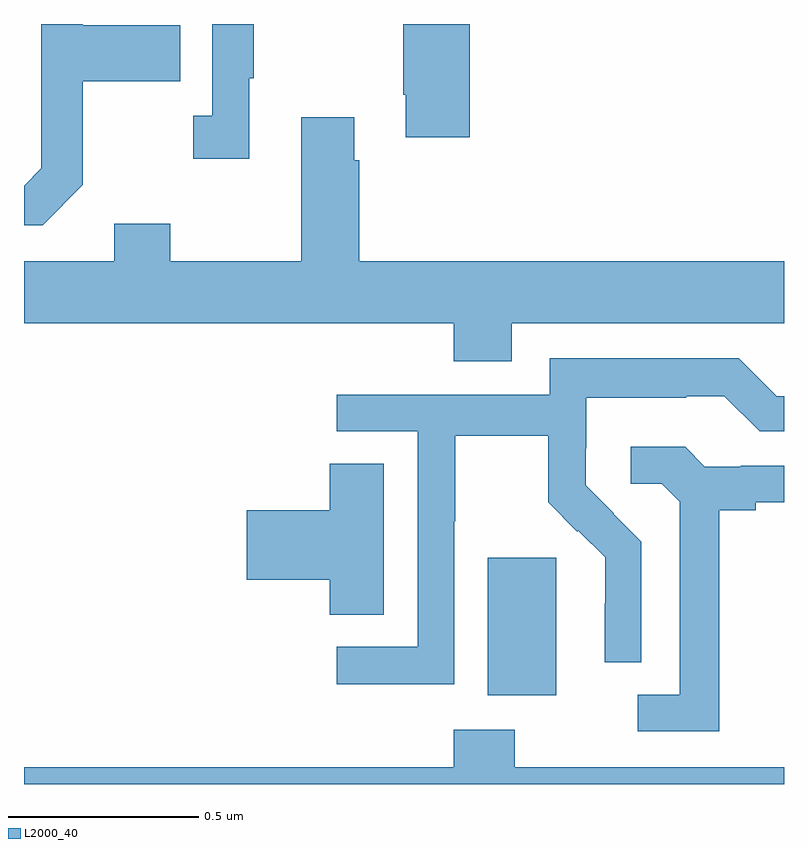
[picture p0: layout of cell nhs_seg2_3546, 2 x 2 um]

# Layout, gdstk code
import gdstk
lib = gdstk.Library(unit=1e-6, precision=1e-09)
def R(c, l, rs):  # rectangles x0, y0, x1, y1
    for r in rs: c.add(gdstk.rectangle(r[:2], r[2:], *l))
def P(c, l, *ps):  # polygons
    for p in ps: c.add(gdstk.Polygon(p, *l))
L2000_40 = (2000, 40)

nhs_seg2_3546 = lib.new_cell('nhs_seg2_3546')
R(nhs_seg2_3546, L2000_40, [(156.221,604.034,156.4,604.395)])
P(nhs_seg2_3546, L2000_40, [(155.155,605.377),(155.155,605.65),(155.411,605.65),(155.411,605.797),(155.155,605.797),(155.155,605.8),(155.046,605.8),(155.046,605.421),(155,605.375),(155,605.271),(155.049,605.271)],
  [(155.593,605.657),(155.605,605.657),(155.605,605.8),(155.496,605.8),(155.496,605.558),(155.445,605.558),(155.445,605.445),(155.593,605.445)],
  [(156.173,605.8),(155.998,605.8),(155.998,605.614),(156.005,605.614),(156.005,605.502),(156.173,605.502)],
  [(156.283,605.012),(157,605.012),(157,605.176),(155.882,605.176),(155.882,605.441),(155.869,605.441),(155.869,605.554),(155.729,605.554),(155.729,605.176),(155.385,605.176),(155.385,605.275),(155.237,605.275),(155.237,605.176),(155,605.176),(155,605.012),(156.131,605.012),(156.131,604.913),(156.283,604.913)],
  [(156.132,604.492),(156.135,604.492),(156.135,604.716),(156.379,604.716),(156.379,604.541),(156.456,604.464),(156.459,604.467),(156.53,604.397),(156.53,604.274),(156.528,604.274),(156.528,604.12),(156.624,604.12),(156.624,604.438),(156.551,604.511),(156.552,604.512),(156.478,604.586),(156.478,604.683),(156.48,604.683),(156.48,604.817),(156.743,604.817),(156.743,604.821),(156.843,604.821),(156.936,604.728),(157,604.728),(157,604.821),(156.981,604.821),(156.881,604.921),(156.384,604.921),(156.384,604.824),(155.823,604.824),(155.823,604.728),(156.036,604.728),(156.036,604.161),(155.823,604.161),(155.823,604.063),(156.132,604.063)],
  [(156.829,604.52),(156.925,604.52),(156.925,604.542),(157,604.542),(157,604.638),(156.886,604.638),(156.886,604.635),(156.792,604.635),(156.74,604.687),(156.597,604.687),(156.597,604.59),(156.678,604.59),(156.725,604.543),(156.725,604.035),(156.615,604.035),(156.615,603.939),(156.829,603.939)],
  [(155.947,604.643),(155.804,604.643),(155.804,604.52),(155.586,604.52),(155.586,604.337),(155.804,604.337),(155.804,604.246),(155.947,604.246)],
  [(157,603.844),(156.291,603.844),(156.291,603.943),(156.131,603.943),(156.131,603.844),(155,603.844),(155,603.8),(157,603.8)])

lib.write_gds('nhs_seg2_3546.gds')
